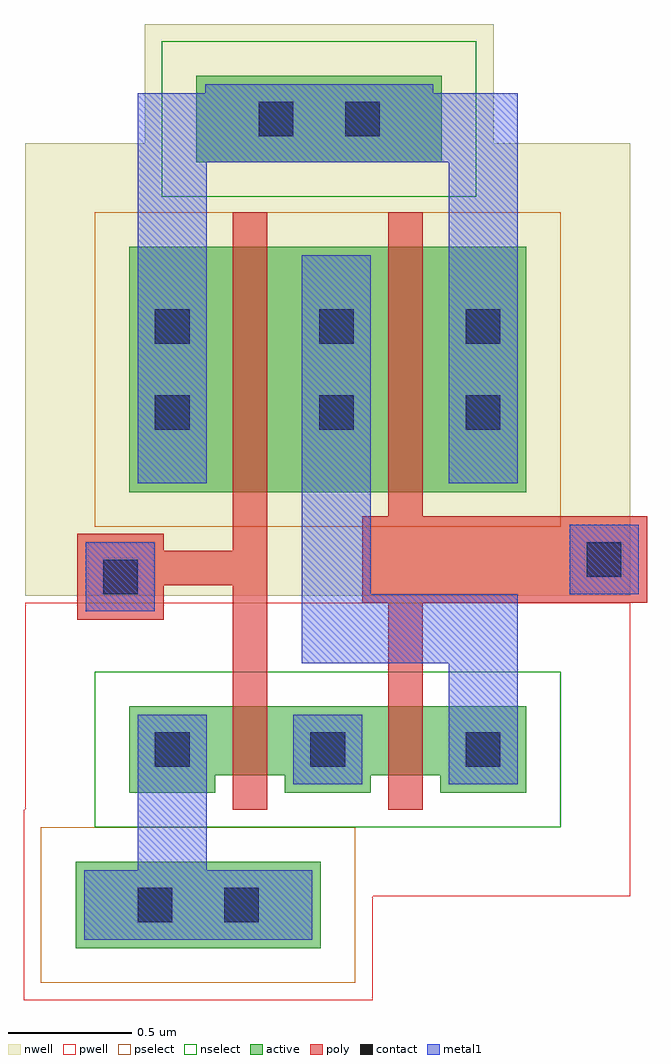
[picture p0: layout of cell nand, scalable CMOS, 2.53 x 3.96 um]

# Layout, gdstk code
import gdstk
lib = gdstk.Library(unit=1e-6, precision=1e-09)
def R(c, l, rs):  # rectangles x0, y0, x1, y1
    for r in rs: c.add(gdstk.rectangle(r[:2], r[2:], *l))
def A(c, l, x, y, w, h, nx, ny, dx, dy):  # array of equal rectangles
    R(c, l, [(x+i*dx, y+j*dy, x+i*dx+w, y+j*dy+h) for i in range(nx) for j in range(ny)])
def P(c, l, *ps):  # polygons
    for p in ps: c.add(gdstk.Polygon(p, *l))
contact = (25, 0)
pwell = (41, 0)
nwell = (42, 0)
active = (43, 0)
pselect = (44, 0)
nselect = (45, 0)
poly = (46, 0)
metal1 = (49, 0)

nand = lib.new_cell('nand')
A(nand, contact, -1.855, -0.84, 0.14, 0.14, 3, 1, 0.63, 0)
R(nand, contact, [(-1.925,-1.47,-1.785,-1.33), (-1.575,-1.47,-1.435,-1.33), (-2.065,-0.14,-1.925,0), (-0.105,-0.07,0.035,0.07), (-1.855,0.525,-1.715,0.665), (-1.19,0.525,-1.05,0.665), (-0.595,0.525,-0.455,0.665), (-1.855,0.875,-1.715,1.015), (-1.19,0.875,-1.05,1.015), (-0.595,0.875,-0.455,1.015), (-1.435,1.715,-1.295,1.855), (-1.085,1.715,-0.945,1.855)])
P(nand, pwell, [(-0.973,-1.365),(0.07,-1.365),(0.07,-0.175),(-2.38,-0.175),(-2.38,-1.015),(-2.387,-1.015),(-2.387,-1.785),(-0.973,-1.785)])
P(nand, nwell, [(0.07,1.687),(-0.483,1.687),(-0.483,2.17),(-1.897,2.17),(-1.897,1.687),(-2.38,1.687),(-2.38,-0.147),(0.07,-0.147)])
R(nand, active, [(-2.177,-1.575,-1.183,-1.225), (-1.96,0.273,-0.35,1.267), (-1.687,1.61,-0.693,1.96)])
P(nand, active, [(-1.61,-0.875),(-1.33,-0.875),(-1.33,-0.945),(-0.98,-0.945),(-0.98,-0.875),(-0.7,-0.875),(-0.7,-0.945),(-0.35,-0.945),(-0.35,-0.595),(-1.96,-0.595),(-1.96,-0.945),(-1.61,-0.945)])
R(nand, pselect, [(-2.317,-1.715,-1.043,-1.085), (-2.1,0.133,-0.21,1.407)])
R(nand, nselect, [(-2.1,-1.085,-0.21,-0.455), (-1.827,1.47,-0.553,2.1)])
P(nand, poly, [(-1.4,1.407),(-1.54,1.407),(-1.54,0.035),(-1.82,0.035),(-1.82,0.105),(-2.17,0.105),(-2.17,-0.245),(-1.82,-0.245),(-1.82,-0.105),(-1.54,-0.105),(-1.54,-1.015),(-1.4,-1.015)],
  [(-0.91,1.407),(-0.91,0.175),(-1.015,0.175),(-1.015,-0.175),(-0.91,-0.175),(-0.91,-1.015),(-0.77,-1.015),(-0.77,-0.175),(0.14,-0.175),(0.14,0.175),(-0.77,0.175),(-0.77,1.407)])
R(nand, metal1, [(-1.295,-0.91,-1.015,-0.63), (-2.135,-0.21,-1.855,0.07), (-0.175,-0.14,0.105,0.14)])
P(nand, metal1, [(-0.665,0.308),(-0.385,0.308),(-0.385,1.89),(-0.728,1.89),(-0.728,1.925),(-1.652,1.925),(-1.652,1.89),(-1.925,1.89),(-1.925,0.308),(-1.645,0.308),(-1.645,1.61),(-0.665,1.61)],
  [(-0.385,-0.14),(-0.98,-0.14),(-0.98,1.232),(-1.26,1.232),(-1.26,-0.42),(-0.665,-0.42),(-0.665,-0.91),(-0.385,-0.91)],
  [(-1.218,-1.26),(-1.645,-1.26),(-1.645,-0.63),(-1.925,-0.63),(-1.925,-1.26),(-2.142,-1.26),(-2.142,-1.54),(-1.218,-1.54)])

lib.write_gds('nand.gds')
